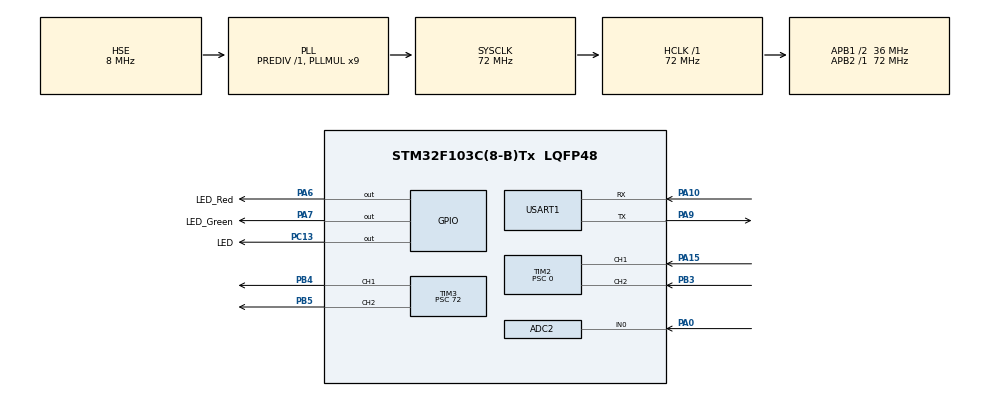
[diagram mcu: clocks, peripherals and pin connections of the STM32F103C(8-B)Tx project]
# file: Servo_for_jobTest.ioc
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ADC2.Channel-1\#ChannelRegularConversion=ADC_CHANNEL_0
ADC2.ContinuousConvMode=ENABLE
ADC2.NbrOfConversion=1
ADC2.NbrOfConversionFlag=1
ADC2.Rank-1\#ChannelRegularConversion=1
ADC2.SamplingTime-1\#ChannelRegularConversion=ADC_SAMPLETIME_28CYCLES_5
Mcu.Family=STM32F1
Mcu.Name=STM32F103C(8-B)Tx
Mcu.Package=LQFP48
NVIC.PriorityGroup=NVIC_PRIORITYGROUP_4
NVIC.TIM2_IRQn=true\:0\:0\:false\:false\:true\:true\:true
NVIC.TIM3_IRQn=true\:0\:0\:false\:false\:true\:true\:true
PA0-WKUP.Signal=ADCx_IN0
PA10.Mode=Asynchronous
PA10.Signal=USART1_RX
PA13.Mode=Serial_Wire
PA13.Signal=SYS_JTMS-SWDIO
PA14.Mode=Serial_Wire
PA14.Signal=SYS_JTCK-SWCLK
PA15.Signal=S_TIM2_CH1_ETR
PA6.GPIO_Label=LED_Red
PA6.GPIO_Speed=GPIO_SPEED_FREQ_MEDIUM
PA6.Signal=GPIO_Output
PA7.GPIO_Label=LED_Green
PA7.GPIO_Speed=GPIO_SPEED_FREQ_MEDIUM
PA7.Signal=GPIO_Output
PA9.Mode=Asynchronous
PA9.Signal=USART1_TX
PB3.Signal=S_TIM2_CH2
PB4.Signal=S_TIM3_CH1
PB5.Signal=S_TIM3_CH2
PC13-TAMPER-RTC.GPIO_Label=LED
PC13-TAMPER-RTC.GPIO_ModeDefaultOutputPP=GPIO_MODE_OUTPUT_PP
PC13-TAMPER-RTC.GPIO_Speed=GPIO_SPEED_FREQ_MEDIUM
PC13-TAMPER-RTC.PinState=GPIO_PIN_RESET
PC13-TAMPER-RTC.Signal=GPIO_Output
PD0-OSC_IN.Mode=HSE-External-Oscillator
PD0-OSC_IN.Signal=RCC_OSC_IN
PD1-OSC_OUT.Mode=HSE-External-Oscillator
PD1-OSC_OUT.Signal=RCC_OSC_OUT
ProjectManager.HeapSize=0x200
ProjectManager.StackSize=0x400
ProjectManager.TargetToolchain=STM32CubeIDE
RCC.ADCPresc=RCC_ADCPCLK2_DIV6
RCC.AHBFreq_Value=72000000
RCC.APB1CLKDivider=RCC_HCLK_DIV2
RCC.APB1Freq_Value=36000000
RCC.APB1TimFreq_Value=72000000
RCC.APB2Freq_Value=72000000
RCC.APB2TimFreq_Value=72000000
RCC.HCLKFreq_Value=72000000
RCC.PLLMUL=RCC_PLL_MUL9
RCC.PLLSourceVirtual=RCC_PLLSOURCE_HSE
RCC.SYSCLKFreq_VALUE=72000000
RCC.SYSCLKSource=RCC_SYSCLKSOURCE_PLLCLK
RCC.USBFreq_Value=72000000
SH.ADCx_IN0.0=ADC2_IN0,IN0
SH.S_TIM2_CH1_ETR.0=TIM2_CH1,Encoder_Interface
SH.S_TIM2_CH2.0=TIM2_CH2,Encoder_Interface
SH.S_TIM3_CH1.0=TIM3_CH1,PWM Generation1 CH1
SH.S_TIM3_CH2.0=TIM3_CH2,PWM Generation2 CH2
TIM2.IC1Filter=5
TIM2.IC2Filter=5
TIM2.Period=1000
TIM2.Prescaler=0
TIM3.Channel-PWM\ Generation1\ CH1=TIM_CHANNEL_1
TIM3.Channel-PWM\ Generation2\ CH2=TIM_CHANNEL_2
TIM3.Period=256
TIM3.Prescaler=72
TIM3.Pulse-PWM\ Generation1\ CH1=20
USART1.VirtualMode=VM_ASYNC
board=custom

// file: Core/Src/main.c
/* USER CODE BEGIN Header */
/**
  ******************************************************************************
  * @file           : main.c
  * @brief          : Main program body
  ******************************************************************************
  * @attention
  *
  * <h2><center>&copy; Copyright (c) 2020 STMicroelectronics.
  * All rights reserved.</center></h2>
  *
  * This software component is licensed by ST under BSD 3-Clause license,
  * the "License"; You may not use this file except in compliance with the
  * License. You may obtain a copy of the License at:
  *                        opensource.org/licenses/BSD-3-Clause
  *
  ******************************************************************************
  */
/* USER CODE END Header */

#include "main.h"

/* USER CODE BEGIN Includes */
#include <stdio.h>

/* USER CODE END Includes */

/* USER CODE BEGIN PD */

#define SENSOR_MIN 100
#define SENSOR_MAX 4000

#define outMin      -255
#define outMax       255

/* USER CODE END PD */

ADC_HandleTypeDef hadc2;

TIM_HandleTypeDef htim2;
TIM_HandleTypeDef htim3;

UART_HandleTypeDef huart1;

/* USER CODE BEGIN PV */

uint16_t adc = 0;
uint32_t count = 500;

uint32_t now = 0;
uint32_t timeChange = 0 ;
uint32_t SampleTime = 1 ;
uint32_t lastTime ;

float setpoint;
float input;
float output;
float kp = 3 ;
float ki = 0.005 ;
float kd = 20 ;
//float outMin = -255;
//float outMax = 255;
float outputSum;
float lastInput;

/* USER CODE END PV */

void SystemClock_Config(void);
static void MX_GPIO_Init(void);
static void MX_TIM2_Init(void);
static void MX_ADC2_Init(void);
static void MX_USART1_UART_Init(void);
static void MX_TIM3_Init(void);

/* USER CODE BEGIN 0 */

void HAL_TIM_IC_CaptureCallback(TIM_HandleTypeDef *htim)
{
        if(htim->Instance == TIM2)
        {
                 count = __HAL_TIM_GET_COUNTER(htim);
                  HAL_GPIO_TogglePin(GPIOC, LED_Pin);
        }
}
/* USER CODE END 0 */

int main(void)
{

  /* MCU Configuration--------------------------------------------------------*/

  /* Reset of all peripherals, Initializes the Flash interface and the Systick. */
  HAL_Init();

  /* Configure the system clock */
  SystemClock_Config();

  /* Initialize all configured peripherals */
  MX_GPIO_Init();
  MX_TIM2_Init();
  MX_ADC2_Init();
  MX_USART1_UART_Init();
  MX_TIM3_Init();
  /* USER CODE BEGIN 2 */

  HAL_ADCEx_Calibration_Start(&hadc2);
  HAL_ADC_Start(&hadc2);
  HAL_TIM_Encoder_Start_IT(&htim2, TIM_CHANNEL_1);

  HAL_TIM_PWM_Start(&htim3, TIM_CHANNEL_1);
  HAL_TIM_PWM_Start(&htim3, TIM_CHANNEL_2);

  /* USER CODE END 2 */

  /* Infinite loop */
  /* USER CODE BEGIN WHILE */
  while (1)
  {

			 adc = HAL_ADC_GetValue(&hadc2);

			 setpoint = (float)adc;
			 if(setpoint < SENSOR_MIN){
				 setpoint = SENSOR_MIN;
				 HAL_GPIO_WritePin(GPIOA, LED_Red_Pin, GPIO_PIN_SET);
				 HAL_GPIO_WritePin(GPIOA, LED_Green_Pin, GPIO_PIN_RESET);
			 }
			 else if(setpoint > SENSOR_MAX) {
				 setpoint = SENSOR_MAX;
				 HAL_GPIO_WritePin(GPIOA, LED_Red_Pin, GPIO_PIN_RESET);
				 HAL_GPIO_WritePin(GPIOA, LED_Green_Pin, GPIO_PIN_SET);
			 }
			 else{
				 HAL_GPIO_WritePin(GPIOA, LED_Red_Pin|LED_Green_Pin, GPIO_PIN_RESET);
			 }

				 input = count*8;
				  now = HAL_GetTick();
				  timeChange = (now - lastTime);

		     if(timeChange>=SampleTime)
		     {
                // PID Control
		        float error = setpoint - input;
		        float dInput = (input - lastInput);
		        outputSum+= (ki * error);

		        if(outputSum > outMax) outputSum= outMax;
		        else if(outputSum < outMin) outputSum= outMin;

		        output = kp * error;

		        /*Compute Rest of PID Output*/
		        output += outputSum - kd * dInput;

		  	    if(output > outMax) output = outMax;
		        else if(output < outMin) output = outMin;

		        /*Remember some variables for next time*/
		        lastInput = input;
		        lastTime = now;

		        if(output>0){
		        	__HAL_TIM_SET_COMPARE(&htim3, TIM_CHANNEL_1, (uint16_t)output);
		            __HAL_TIM_SET_COMPARE(&htim3, TIM_CHANNEL_2, 0);
		        }
		        else if(output<0){
		        	uint16_t out = -output;
		        	__HAL_TIM_SET_COMPARE(&htim3, TIM_CHANNEL_1, 0);
		        	__HAL_TIM_SET_COMPARE(&htim3, TIM_CHANNEL_2, (uint16_t)out);
		        }
		        else{
		        	__HAL_TIM_SET_COMPARE(&htim3, TIM_CHANNEL_1, 0);
		        	__HAL_TIM_SET_COMPARE(&htim3, TIM_CHANNEL_2, 0);
		        }
		     }

    /* USER CODE END WHILE */

  }
}

void SystemClock_Config(void)
{
  RCC_OscInitTypeDef RCC_OscInitStruct = {0};
  RCC_ClkInitTypeDef RCC_ClkInitStruct = {0};
  RCC_PeriphCLKInitTypeDef PeriphClkInit = {0};

  /** Initializes the CPU, AHB and APB busses clocks
  */
  RCC_OscInitStruct.OscillatorType = RCC_OSCILLATORTYPE_HSE;
  RCC_OscInitStruct.HSEState = RCC_HSE_ON;
  RCC_OscInitStruct.HSEPredivValue = RCC_HSE_PREDIV_DIV1;
  RCC_OscInitStruct.HSIState = RCC_HSI_ON;
  RCC_OscInitStruct.PLL.PLLState = RCC_PLL_ON;
  RCC_OscInitStruct.PLL.PLLSource = RCC_PLLSOURCE_HSE;
  RCC_OscInitStruct.PLL.PLLMUL = RCC_PLL_MUL9;
  if (HAL_RCC_OscConfig(&RCC_OscInitStruct) != HAL_OK)
  {
    Error_Handler();
  }
  /** Initializes the CPU, AHB and APB busses clocks
  */
  RCC_ClkInitStruct.ClockType = RCC_CLOCKTYPE_HCLK|RCC_CLOCKTYPE_SYSCLK
                              |RCC_CLOCKTYPE_PCLK1|RCC_CLOCKTYPE_PCLK2;
  RCC_ClkInitStruct.SYSCLKSource = RCC_SYSCLKSOURCE_PLLCLK;
  RCC_ClkInitStruct.AHBCLKDivider = RCC_SYSCLK_DIV1;
  RCC_ClkInitStruct.APB1CLKDivider = RCC_HCLK_DIV2;
  RCC_ClkInitStruct.APB2CLKDivider = RCC_HCLK_DIV1;

  if (HAL_RCC_ClockConfig(&RCC_ClkInitStruct, FLASH_LATENCY_2) != HAL_OK)
  {
    Error_Handler();
  }
  PeriphClkInit.PeriphClockSelection = RCC_PERIPHCLK_ADC;
  PeriphClkInit.AdcClockSelection = RCC_ADCPCLK2_DIV6;
  if (HAL_RCCEx_PeriphCLKConfig(&PeriphClkInit) != HAL_OK)
  {
    Error_Handler();
  }
}

static void MX_ADC2_Init(void)
{

  ADC_ChannelConfTypeDef sConfig = {0};

  /** Common config
  */
  hadc2.Instance = ADC2;
  hadc2.Init.ScanConvMode = ADC_SCAN_DISABLE;
  hadc2.Init.ContinuousConvMode = ENABLE;
  hadc2.Init.DiscontinuousConvMode = DISABLE;
  hadc2.Init.ExternalTrigConv = ADC_SOFTWARE_START;
  hadc2.Init.DataAlign = ADC_DATAALIGN_RIGHT;
  hadc2.Init.NbrOfConversion = 1;
  if (HAL_ADC_Init(&hadc2) != HAL_OK)
  {
    Error_Handler();
  }
  /** Configure Regular Channel
  */
  sConfig.Channel = ADC_CHANNEL_0;
  sConfig.Rank = ADC_REGULAR_RANK_1;
  sConfig.SamplingTime = ADC_SAMPLETIME_28CYCLES_5;
  if (HAL_ADC_ConfigChannel(&hadc2, &sConfig) != HAL_OK)
  {
    Error_Handler();
  }

}

static void MX_TIM2_Init(void)
{

  TIM_Encoder_InitTypeDef sConfig = {0};
  TIM_MasterConfigTypeDef sMasterConfig = {0};

  htim2.Instance = TIM2;
  htim2.Init.Prescaler = 0;
  htim2.Init.CounterMode = TIM_COUNTERMODE_UP;
  htim2.Init.Period = 1000;
  htim2.Init.ClockDivision = TIM_CLOCKDIVISION_DIV1;
  htim2.Init.AutoReloadPreload = TIM_AUTORELOAD_PRELOAD_DISABLE;
  sConfig.EncoderMode = TIM_ENCODERMODE_TI1;
  sConfig.IC1Polarity = TIM_ICPOLARITY_RISING;
  sConfig.IC1Selection = TIM_ICSELECTION_DIRECTTI;
  sConfig.IC1Prescaler = TIM_ICPSC_DIV1;
  sConfig.IC1Filter = 5;
  sConfig.IC2Polarity = TIM_ICPOLARITY_RISING;
  sConfig.IC2Selection = TIM_ICSELECTION_DIRECTTI;
  sConfig.IC2Prescaler = TIM_ICPSC_DIV1;
  sConfig.IC2Filter = 5;
  if (HAL_TIM_Encoder_Init(&htim2, &sConfig) != HAL_OK)
  {
    Error_Handler();
  }
  sMasterConfig.MasterOutputTrigger = TIM_TRGO_RESET;
  sMasterConfig.MasterSlaveMode = TIM_MASTERSLAVEMODE_DISABLE;
  if (HAL_TIMEx_MasterConfigSynchronization(&htim2, &sMasterConfig) != HAL_OK)
  {
    Error_Handler();
  }

}

static void MX_TIM3_Init(void)
{

  TIM_MasterConfigTypeDef sMasterConfig = {0};
  TIM_OC_InitTypeDef sConfigOC = {0};

  htim3.Instance = TIM3;
  htim3.Init.Prescaler = 72;
  htim3.Init.CounterMode = TIM_COUNTERMODE_UP;
  htim3.Init.Period = 256;
  htim3.Init.ClockDivision = TIM_CLOCKDIVISION_DIV1;
  htim3.Init.AutoReloadPreload = TIM_AUTORELOAD_PRELOAD_DISABLE;
  if (HAL_TIM_PWM_Init(&htim3) != HAL_OK)
  {
    Error_Handler();
  }
  sMasterConfig.MasterOutputTrigger = TIM_TRGO_RESET;
  sMasterConfig.MasterSlaveMode = TIM_MASTERSLAVEMODE_DISABLE;
  if (HAL_TIMEx_MasterConfigSynchronization(&htim3, &sMasterConfig) != HAL_OK)
  {
    Error_Handler();
  }
  sConfigOC.OCMode = TIM_OCMODE_PWM1;
  sConfigOC.Pulse = 20;
  sConfigOC.OCPolarity = TIM_OCPOLARITY_HIGH;
  sConfigOC.OCFastMode = TIM_OCFAST_DISABLE;
  if (HAL_TIM_PWM_ConfigChannel(&htim3, &sConfigOC, TIM_CHANNEL_1) != HAL_OK)
  {
    Error_Handler();
  }
  sConfigOC.Pulse = 0;
  if (HAL_TIM_PWM_ConfigChannel(&htim3, &sConfigOC, TIM_CHANNEL_2) != HAL_OK)
  {
    Error_Handler();
  }
  HAL_TIM_MspPostInit(&htim3);

}

static void MX_USART1_UART_Init(void)
{

  huart1.Instance = USART1;
  huart1.Init.BaudRate = 115200;
  huart1.Init.WordLength = UART_WORDLENGTH_8B;
  huart1.Init.StopBits = UART_STOPBITS_1;
  huart1.Init.Parity = UART_PARITY_NONE;
  huart1.Init.Mode = UART_MODE_TX_RX;
  huart1.Init.HwFlowCtl = UART_HWCONTROL_NONE;
  huart1.Init.OverSampling = UART_OVERSAMPLING_16;
  if (HAL_UART_Init(&huart1) != HAL_OK)
  {
    Error_Handler();
  }

}

static void MX_GPIO_Init(void)
{
  GPIO_InitTypeDef GPIO_InitStruct = {0};

  /* GPIO Ports Clock Enable */
  __HAL_RCC_GPIOC_CLK_ENABLE();
  __HAL_RCC_GPIOD_CLK_ENABLE();
  __HAL_RCC_GPIOA_CLK_ENABLE();
  __HAL_RCC_GPIOB_CLK_ENABLE();

  /*Configure GPIO pin Output Level */
  HAL_GPIO_WritePin(LED_GPIO_Port, LED_Pin, GPIO_PIN_RESET);

  /*Configure GPIO pin Output Level */
  HAL_GPIO_WritePin(GPIOA, LED_Red_Pin|LED_Green_Pin, GPIO_PIN_RESET);

  /*Configure GPIO pin : LED_Pin */
  GPIO_InitStruct.Pin = LED_Pin;
  GPIO_InitStruct.Mode = GPIO_MODE_OUTPUT_PP;
  GPIO_InitStruct.Pull = GPIO_NOPULL;
  GPIO_InitStruct.Speed = GPIO_SPEED_FREQ_MEDIUM;
  HAL_GPIO_Init(LED_GPIO_Port, &GPIO_InitStruct);

  /*Configure GPIO pins : LED_Red_Pin LED_Green_Pin */
  GPIO_InitStruct.Pin = LED_Red_Pin|LED_Green_Pin;
  GPIO_InitStruct.Mode = GPIO_MODE_OUTPUT_PP;
  GPIO_InitStruct.Pull = GPIO_NOPULL;
  GPIO_InitStruct.Speed = GPIO_SPEED_FREQ_MEDIUM;
  HAL_GPIO_Init(GPIOA, &GPIO_InitStruct);

}

void Error_Handler(void)
{
}

/************************ (C) COPYRIGHT STMicroelectronics *****END OF FILE****/
